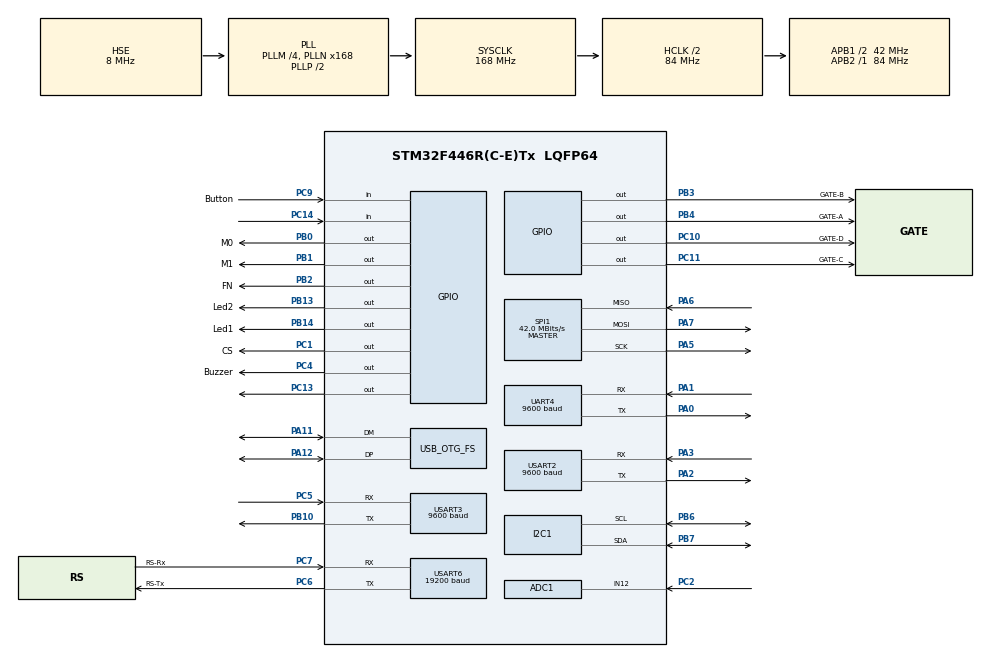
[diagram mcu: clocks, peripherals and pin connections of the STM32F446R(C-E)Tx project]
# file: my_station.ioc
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ADC1.Channel-0\#ChannelRegularConversion=ADC_CHANNEL_12
ADC1.ContinuousConvMode=ENABLE
ADC1.NbrOfConversionFlag=1
ADC1.Rank-0\#ChannelRegularConversion=1
ADC1.SamplingTime-0\#ChannelRegularConversion=ADC_SAMPLETIME_3CYCLES
ADC1.master=1
Dma.Request0=USART3_RX
Dma.USART3_RX.0.Direction=DMA_PERIPH_TO_MEMORY
Dma.USART3_RX.0.FIFOMode=DMA_FIFOMODE_DISABLE
Dma.USART3_RX.0.Instance=DMA1_Stream1
Dma.USART3_RX.0.MemDataAlignment=DMA_MDATAALIGN_BYTE
Dma.USART3_RX.0.MemInc=DMA_MINC_ENABLE
Dma.USART3_RX.0.Mode=DMA_NORMAL
Dma.USART3_RX.0.PeriphDataAlignment=DMA_PDATAALIGN_BYTE
Dma.USART3_RX.0.PeriphInc=DMA_PINC_DISABLE
Dma.USART3_RX.0.Priority=DMA_PRIORITY_LOW
I2C1.I2C_Mode=I2C_Fast
Mcu.Family=STM32F4
Mcu.Name=STM32F446R(C-E)Tx
Mcu.Package=LQFP64
NVIC.ADC_IRQn=true\:3\:0\:true\:false\:true\:true\:true\:true
NVIC.DMA1_Stream1_IRQn=true\:0\:0\:false\:false\:true\:false\:true\:true
NVIC.OTG_FS_IRQn=true\:0\:0\:false\:false\:true\:false\:true\:true
NVIC.PriorityGroup=NVIC_PRIORITYGROUP_4
NVIC.TIM2_IRQn=true\:0\:0\:false\:false\:true\:true\:true\:true
NVIC.TIM3_IRQn=true\:0\:0\:false\:false\:true\:true\:true\:true
NVIC.TIM4_IRQn=true\:0\:0\:false\:false\:true\:true\:true\:true
NVIC.UART4_IRQn=true\:2\:0\:true\:false\:true\:true\:true\:true
NVIC.USART2_IRQn=true\:2\:0\:true\:false\:true\:true\:true\:true
NVIC.USART3_IRQn=true\:0\:0\:false\:false\:true\:true\:true\:true
NVIC.USART6_IRQn=true\:0\:0\:false\:false\:true\:true\:true\:true
PA0-WKUP.Mode=Asynchronous
PA0-WKUP.Signal=UART4_TX
PA1.Mode=Asynchronous
PA1.Signal=UART4_RX
PA11.Mode=Device_Only
PA11.Signal=USB_OTG_FS_DM
PA12.Mode=Device_Only
PA12.Signal=USB_OTG_FS_DP
PA13.Mode=Serial_Wire
PA13.Signal=SYS_JTMS-SWDIO
PA14.Mode=Serial_Wire
PA14.Signal=SYS_JTCK-SWCLK
PA2.Mode=Asynchronous
PA2.Signal=USART2_TX
PA3.Mode=Asynchronous
PA3.Signal=USART2_RX
PA5.Mode=Full_Duplex_Master
PA5.Signal=SPI1_SCK
PA6.Mode=Full_Duplex_Master
PA6.Signal=SPI1_MISO
PA7.Mode=Full_Duplex_Master
PA7.Signal=SPI1_MOSI
PB0.GPIO_Label=M0
PB0.Signal=GPIO_Output
PB1.GPIO_Label=M1
PB1.Signal=GPIO_Output
PB10.Mode=Asynchronous
PB10.Signal=USART3_TX
PB13.GPIO_Label=Led2
PB13.Signal=GPIO_Output
PB14.GPIO_Label=Led1
PB14.Signal=GPIO_Output
PB2.GPIO_Label=FN
PB2.Signal=GPIO_Output
PB3.GPIO_Label=GATE-B
PB3.Signal=GPIO_Output
PB4.GPIO_Label=GATE-A
PB4.Signal=GPIO_Output
PB6.Mode=I2C
PB6.Signal=I2C1_SCL
PB7.Mode=I2C
PB7.Signal=I2C1_SDA
PC1.GPIO_Label=CS
PC1.Signal=GPIO_Output
PC10.GPIO_Label=GATE-D
PC10.Signal=GPIO_Output
PC11.GPIO_Label=GATE-C
PC11.Signal=GPIO_Output
PC13.Signal=GPIO_Output
PC14-OSC32_IN.Signal=GPIO_Input
PC2.Signal=ADCx_IN12
PC4.GPIO_Label=Buzzer
PC4.Signal=GPIO_Output
PC5.Mode=Asynchronous
PC5.Signal=USART3_RX
PC6.GPIO_Label=RS-Tx
PC6.Mode=Asynchronous
PC6.Signal=USART6_TX
PC7.GPIO_Label=RS-Rx
PC7.Mode=Asynchronous
PC7.Signal=USART6_RX
PC9.GPIO_Label=Button
PC9.Signal=GPIO_Input
PH0-OSC_IN.Mode=HSE-External-Oscillator
PH0-OSC_IN.Signal=RCC_OSC_IN
PH1-OSC_OUT.Mode=HSE-External-Oscillator
PH1-OSC_OUT.Signal=RCC_OSC_OUT
ProjectManager.HeapSize=0x200
ProjectManager.StackSize=0x400
ProjectManager.TargetToolchain=STM32CubeIDE
RCC.AHBCLKDivider=RCC_SYSCLK_DIV2
RCC.AHBFreq_Value=84000000
RCC.APB1CLKDivider=RCC_HCLK_DIV2
RCC.APB1Freq_Value=42000000
RCC.APB1TimFreq_Value=84000000
RCC.APB2Freq_Value=84000000
RCC.APB2TimFreq_Value=84000000
RCC.CortexFreq_Value=84000000
RCC.HCLKFreq_Value=84000000
RCC.HSE_VALUE=8000000
RCC.PLLM=4
RCC.PLLN=168
RCC.PLLQ=7
RCC.PLLSourceVirtual=RCC_PLLSOURCE_HSE
RCC.SYSCLKFreq_VALUE=168000000
RCC.SYSCLKSource=RCC_SYSCLKSOURCE_PLLCLK
RCC.USBFreq_Value=48000000
RCC.VCOOutputFreq_Value=336000000
SH.ADCx_IN12.0=ADC1_IN12,IN12
SPI1.CalculateBaudRate=42.0 MBits/s
SPI1.Direction=SPI_DIRECTION_2LINES
SPI1.Mode=SPI_MODE_MASTER
SPI1.VirtualType=VM_MASTER
TIM2.Period=16000-1
TIM2.Prescaler=8400
TIM3.Period=300-1
TIM3.Prescaler=8400
TIM4.Period=2000-1
TIM4.Prescaler=8400
UART4.BaudRate=9600
UART4.VirtualMode=Asynchronous
USART2.BaudRate=9600
USART2.VirtualMode=VM_ASYNC
USART3.BaudRate=9600
USART3.VirtualMode=VM_ASYNC
USART6.BaudRate=19200
USART6.VirtualMode=VM_ASYNC
USB_DEVICE.CLASS_NAME_FS=CDC
USB_DEVICE.VirtualMode-CDC_FS=Cdc
USB_DEVICE.VirtualModeFS=Cdc_FS
USB_OTG_FS.VirtualMode=Device_Only
VP_TIM2_VS_ClockSourceINT.Mode=Internal
VP_TIM3_VS_ClockSourceINT.Mode=Internal
VP_TIM4_VS_ClockSourceINT.Mode=Internal
VP_USB_DEVICE_VS_USB_DEVICE_CDC_FS.Mode=CDC_FS
board=custom

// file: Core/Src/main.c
/* USER CODE BEGIN Header */
/**
  ******************************************************************************
  * @file           : main.c
  * @brief          : Main program body
  ******************************************************************************
  * @attention
  *
  * Copyright (c) 2024 STMicroelectronics.
  * All rights reserved.
  *
  * This software is licensed under terms that can be found in the LICENSE file
  * in the root directory of this software component.
  * If no LICENSE file comes with this software, it is provided AS-IS.
  *
  ******************************************************************************
  */
/* USER CODE END Header */
#include "main.h"
#include "usb_device.h"

/* USER CODE BEGIN Includes */
#include "lwgps/lwgps.h"
#include <math.h>
#include "stdio.h"
#include "string.h"
/* USER CODE END Includes */

/* USER CODE BEGIN PTD */
#define Lora_Rx_Buffer_SIZE 72
#define RX_BUFFER_SIZE 128
#define HYI_BUFFER_SIZE 68

#define TAKIM_ID 31

#define PACKET_SIZE 72   // Toplam paket boyutu (47 data + 1 '\n')
#define PACKET1_ID 2     // 1. paketin 0. indeksindeki ID
#define PACKET2_ID 1     // 2. paketin 0. indeksindeki ID
#define PACKET1_MARKER 0x31 // 1. paketin 47. indeksindeki işaretleyici
#define PACKET2_MARKER 0x32 // 2. paketin 47. indeksindeki işaretleyici
#define PACKET_END '\n'   // Paketlerin sonundaki karakter

#define CMD_SET_REG 0xC0 // COMMAND FOR SETTING REGISTER
#define CMD_READ_REG 0xC1 // COMMAND FOR READING REGISTER
#define REG_ADD_H 0x0 // DEVICE ADDRESS HIGH BYTE
#define REG_ADD_L 0x1 // DEVICE ADDRESS LOW BYTE
#define REG0 0x2 // UART CONFIGURATION REGISTER
#define REG1 0x3 // RF CONFIGURATION REGISTER
#define REG2 0x4 // CHANNEL CONTROL
#define REG3 0x5 // TRANSMISSION PARAMETER CONTROL
/* USER CODE END PTD */

ADC_HandleTypeDef hadc1;

I2C_HandleTypeDef hi2c1;

SPI_HandleTypeDef hspi1;

TIM_HandleTypeDef htim2;
TIM_HandleTypeDef htim3;
TIM_HandleTypeDef htim4;

UART_HandleTypeDef huart4;
UART_HandleTypeDef huart2;
UART_HandleTypeDef huart3;
UART_HandleTypeDef huart6;
DMA_HandleTypeDef hdma_usart3_rx;

/* USER CODE BEGIN PV */
uint8_t Lora_Rx_Buffer[Lora_Rx_Buffer_SIZE],
		Lora_Control_Buffer[Lora_Rx_Buffer_SIZE],
		HYI_BUFFER[HYI_BUFFER_SIZE];

uint8_t rx_buffer_gps[RX_BUFFER_SIZE]	;

uint8_t rx_data_lora=0,
		rx_data_gps;

uint8_t rx_index_gps=0,
		rx_index_lora=0;

uint8_t flag_lora ,
		flag_megu ,
		flag_sensor_imu ,
		flag_sensor_barometre,
		flag_counter,
		flag_adc_cnt,
		flag_adc,
		flag_median,
		flag_hyi;

uint8_t Cmd_End[3] = {0xff,0xff,0xff};
uint8_t nextion_rx_data[5];

const uint8_t EGU_durum_sorgusu[5]={0x54,0x52,0x35,0x0D,0x0A};
const uint8_t EGU_motor_atesleme[5]={0x54,0x52,0x32,0x0D,0x0A};

int time;
float adc , adc_pil_val , s_distance, bs_distance;

const double PI = 4.0*atan(1.0);
const double radius_of_earth = 6378136.0474;
double _distance=0;
double _angle=0;

uint32_t crc;

//egu
uint8_t EGU_ARIZA=0;
uint8_t EGU_AYRILMA_TESPIT=0;
uint8_t EGU_MOTOR_ATESLEME_TALEP_IN=0;
uint8_t EGU_STAGE_DURUM=0;
uint8_t EGU_UCUS_BASLADIMI=0;
uint8_t EGU_FITIL =0;

float EGU_BATTERY=0;
float EGU_IRTIFA=0;
float EGU_ANGLE=0;

uint8_t b_altitude[8];
uint8_t b_temperature[5];
uint8_t b_speed[5];
uint8_t b_roll[5];
uint8_t b_pitch[5];
uint8_t b_latitude[9];
uint8_t b_longitude[9];
uint8_t b_bat[2];
uint8_t b_sats[2];
uint8_t b_comm[2];
uint8_t b_dist[6];

uint8_t enum_bs[9];
uint8_t enum_s[9];

char s_altitude[8];
uint8_t s_temperature[5];
uint8_t s_speed[5];
uint8_t s_roll[5];
uint8_t s_pitch[5];
uint8_t s_latitude[9];
uint8_t s_longitude[9];
uint8_t s_bat[2];
uint8_t s_sats[2];
uint8_t s_comm[2];
uint8_t s_dist[6];

///////////////////////////////////////////////////
uint8_t seconds[2];
uint8_t minutes[2];
uint8_t hours[2];
uint8_t st_bat[2];
/////////////////////////////////////////////////
uint8_t p_latitude[9];
uint8_t p_longitude[9];
uint8_t p_altitude[7];
uint8_t p_gpsaltitude[7];
uint8_t p_bat[2];
////////////////////////////////////////////////
uint8_t e_altitude[7];
uint8_t e_bat[2];
uint8_t e_angle[5];
uint8_t e_flight[2];
uint8_t e_stage[2];
uint8_t e_fitil[5];
uint8_t e_engine_request[3];

/* USER CODE END PV */

void SystemClock_Config(void);
static void MX_GPIO_Init(void);
static void MX_DMA_Init(void);
static void MX_ADC1_Init(void);
static void MX_I2C1_Init(void);
static void MX_SPI1_Init(void);
static void MX_USART2_UART_Init(void);
static void MX_USART3_UART_Init(void);
static void MX_USART6_UART_Init(void);
static void MX_UART4_Init(void);
static void MX_TIM2_Init(void);
static void MX_TIM3_Init(void);
static void MX_TIM4_Init(void);
/* USER CODE BEGIN PFP */

void union_converter();
void Booster_union_converter();
void Sustainer_union_converter();

void HAL_TIM_PeriodElapsedCallback(TIM_HandleTypeDef *htim);
void HAL_UART_RxCpltCallback(UART_HandleTypeDef *huart);
void HAL_ADC_ConvCpltCallback(ADC_HandleTypeDef* hadc);
void Nextion_SendCommand(char* command);
void Nextion_SendFloatToTextbox(char* textbox_id, float value);
void NEXTION_SendString (char *ID, char *string);
void NEXTION_SendNum (char *obj, int32_t num);
void NEXTION_SendFloat (char *obj, float num, int dp);
void Payload_union_converter(void);
void correct_packet(uint8_t *buffer, int buffer_size);
void HYI_BUFFER_Fill();

int8_t user_i2c_read(uint8_t id, uint8_t reg_addr, uint8_t *data, uint16_t len);
int8_t user_i2c_write(uint8_t id, uint8_t reg_addr, uint8_t *data, uint16_t len);
int8_t E220_read_register(uint8_t reg);
int8_t E220_write_register(uint8_t reg,uint8_t parameter);

float BME280_Get_Altitude(void);

double distance_in_m(double lat1, double long1, double lat2, double long2);
double toRadians(double degree);
double calculateAngle(double lat1, double lon1, double lat2, double lon2);

/* USER CODE END PFP */

/* USER CODE BEGIN 0 */

typedef union{
  float fVal;
  unsigned char array[4];
}float2unit8;
float2unit8 conv;

typedef struct
{	uint8_t satsinview;
	float gpsaltitude;
	float gpslatitude;
	float gpslongitude;
	float speed;
	float altitude;
	float temperature;
	float accx;
	float accy;
	float accz;
	float normal;
	float pitch;
	float maxAltitude;
	uint8_t battery;
	uint8_t mod;
	uint8_t communication;

}dataTypeDef;

dataTypeDef Payload, Booster , Sustainer;

lwgps_t gps;

int8_t rslt=0 , receive_data;

/* USER CODE END 0 */

int main(void)
{

  /* MCU Configuration--------------------------------------------------------*/

  /* Reset of all peripherals, Initializes the Flash interface and the Systick. */
  HAL_Init();

  /* Configure the system clock */
  SystemClock_Config();

  /* Initialize all configured peripherals */
  MX_GPIO_Init();
  MX_DMA_Init();
  MX_ADC1_Init();
  MX_I2C1_Init();
  MX_SPI1_Init();
  MX_USART2_UART_Init();
  MX_USART3_UART_Init();
  MX_USART6_UART_Init();
  MX_UART4_Init();
  MX_TIM2_Init();
  MX_TIM3_Init();
  MX_TIM4_Init();
  MX_USB_DEVICE_Init();
  /* USER CODE BEGIN 2 */

  HAL_Delay(100);
  receive_data =E220_write_register(0x2, 0x64);
  HAL_Delay(100);

  HAL_Delay(100);
  receive_data =E220_write_register(0x2, 0x64);
  HAL_Delay(100);

  receive_data =E220_write_register(0x3, 0x40);
  HAL_Delay(100);
  receive_data =E220_write_register(0x4, 0x10); // ch
  HAL_Delay(100);
  receive_data =E220_write_register(0x5, 0x40);//40
  HAL_Delay(100);
  receive_data =E220_write_register(0x6, 0x00);
  HAL_Delay(100);
  receive_data =E220_write_register(0x7, 0x00);
  HAL_Delay(100);
  receive_data =E220_write_register(0, 0x06); // h 0x06
  HAL_Delay(100);

  receive_data =E220_write_register(0x1, 0x03); // low 0x03
  HAL_Delay(200);

  receive_data = E220_read_register(0);
  HAL_Delay(100);
  receive_data = E220_read_register(1);
  HAL_Delay(100);
  HAL_GPIO_WritePin(GPIOB, GPIO_PIN_0, RESET);//m0
  HAL_Delay(100);
  HAL_GPIO_WritePin(GPIOB, GPIO_PIN_1, SET); //m1
  HAL_Delay(100);

  lwgps_init(&gps);

  HAL_TIM_Base_Start_IT(&htim2);
  HAL_TIM_Base_Start_IT(&htim3);
  HAL_TIM_Base_Start_IT(&htim4);

  HAL_ADC_Start_IT(&hadc1);

  //HAL_UART_Receive_IT(&huart3, &rx_data_lora, 1);
  HAL_UART_Receive_IT(&huart2, &rx_data_gps, 1);
  HAL_UART_Receive_DMA(&huart3, Lora_Control_Buffer, 72);

  HYI_BUFFER_Fill();
  /* USER CODE END 2 */

  /* Infinite loop */
  while (1)
  {

    /* USER CODE BEGIN 3 */

	  if(Lora_Rx_Buffer[0]==2 && Lora_Rx_Buffer[47] == 0x31){

	  		  Sustainer.satsinview=Lora_Rx_Buffer[1];

	  		  Sustainer_union_converter();
	  		  Sustainer.battery=Lora_Rx_Buffer[46];
	  		  Sustainer.mod=Lora_Rx_Buffer[70];
	  		  Sustainer.communication=Lora_Rx_Buffer[48];

	  			 //EGU PART
	  			 EGU_ARIZA=Lora_Rx_Buffer[49];
	  			 EGU_AYRILMA_TESPIT=Lora_Rx_Buffer[50];
	  			HYI_BUFFER[74]= EGU_AYRILMA_TESPIT;//EGU_AYRILMA_TESPIT;

	  			 float2unit8 f2u8_EGU_BATTERY;
	  			for(uint8_t i=0;i<4;i++)
	  			{
	  				f2u8_EGU_BATTERY.array[i]=Lora_Rx_Buffer[i+51];
	  			}
	  			 EGU_BATTERY=f2u8_EGU_BATTERY.fVal;

	  			 float2unit8 f2u8_EGU_ANGLE;
	  			for(uint8_t i=0;i<4;i++)
	  			{
	  				f2u8_EGU_ANGLE.array[i]=Lora_Rx_Buffer[i+55];
	  			}
	  			  EGU_ANGLE=f2u8_EGU_ANGLE.fVal;

	  			  float2unit8 f2u8_EGU_IRTIFA;
	  			for(uint8_t i=0;i<4;i++)
	  			{
	  				f2u8_EGU_IRTIFA.array[i]=Lora_Rx_Buffer[i+59];
	  			}
	  		  EGU_IRTIFA=f2u8_EGU_IRTIFA.fVal;

	  		  EGU_FITIL=Lora_Rx_Buffer[50];
	  //	/*  EGU_UCUS_BASLADIMI*/sustv4_mod=Lora_Rx_Buffer[63];
	  		  EGU_STAGE_DURUM=Lora_Rx_Buffer[64];
	  		  EGU_MOTOR_ATESLEME_TALEP_IN=Lora_Rx_Buffer[65];
	  		  float2unit8 f2u8_altitude;
	  		  f2u8_altitude.array[0] = Lora_Rx_Buffer[66];
	  		  f2u8_altitude.array[1] = Lora_Rx_Buffer[67];
	  		  f2u8_altitude.array[2] = Lora_Rx_Buffer[68];
	  		  f2u8_altitude.array[3] = Lora_Rx_Buffer[69];
	  		  Sustainer.maxAltitude=f2u8_altitude.fVal;

				sprintf(s_altitude,"%4.3f",Sustainer.altitude);
				sprintf(s_temperature,"%2.2f",Sustainer.temperature);
				sprintf(s_speed,"%2.2f",Sustainer.speed);
				sprintf(s_roll,"%2.2f",Sustainer.normal);
				sprintf(s_pitch,"%2.2f",Sustainer.pitch);
				sprintf(s_latitude,"%2.6f",Sustainer.gpslatitude);
				sprintf(s_longitude,"%2.6f",Sustainer.gpslongitude);
				sprintf(s_bat,"%2d",Sustainer.battery);
				sprintf(s_sats,"%2d",Sustainer.satsinview);
				sprintf(s_comm,"%2d",Sustainer.communication);
				sprintf(s_comm,"%2d",Sustainer.communication);
				//sprintf(s_dist,"%4.2f",s_distance);

				sprintf(e_altitude,"%4.2f",EGU_IRTIFA);
				sprintf(e_angle,"%2.2f",EGU_ANGLE);
				sprintf(e_bat,"%2d",EGU_BATTERY);
				sprintf(e_flight,"%d",EGU_UCUS_BASLADIMI);
				sprintf(e_stage,"%d",EGU_AYRILMA_TESPIT);
				sprintf(e_fitil,"%d",EGU_FITIL);
				// Nextion_SendFloatToTextbox("s1", Sustainer.altitude);
				 NEXTION_SendString("s1", s_altitude);
				 NEXTION_SendString("s2", s_temperature);
				 NEXTION_SendString("s3", s_speed);
				 NEXTION_SendString("s4", s_roll);
				 NEXTION_SendString("s5", s_pitch);
				 NEXTION_SendString("s6", s_sats);
				 NEXTION_SendString("s7", s_latitude);
				 NEXTION_SendString("s8", s_longitude);
				 NEXTION_SendString("s9", s_bat);
				 NEXTION_SendString("t57", s_comm);
				 NEXTION_SendString("t", s_dist);

				 NEXTION_SendString("m1", e_altitude);
				 NEXTION_SendString("m3", e_angle);
				 NEXTION_SendString("m2", e_bat);
				 NEXTION_SendString("m4", e_flight);
				 NEXTION_SendString("m5", e_stage);

	  }

	  if(Lora_Rx_Buffer[0]==1 && Lora_Rx_Buffer[47]==0x32){

	  		  Booster.satsinview=Lora_Rx_Buffer[1];

	      	  Booster_union_converter();
	  		  Booster.battery=Lora_Rx_Buffer[46];
	  		  Booster.mod=Lora_Rx_Buffer[70];
	  		  Booster.communication=Lora_Rx_Buffer[48];
	  		  float2unit8 f2u8_booster;
	  		  f2u8_booster.array[0] = Lora_Rx_Buffer[66];
	  		  f2u8_booster.array[1] = Lora_Rx_Buffer[67];
	  		  f2u8_booster.array[2] = Lora_Rx_Buffer[68];
	  		  f2u8_booster.array[3] = Lora_Rx_Buffer[69];
	  		  Booster.maxAltitude = f2u8_booster.fVal;

	  		sprintf(b_altitude,"%4.3f",Booster.altitude);
			sprintf(b_temperature,"%2.2f",Booster.temperature);
			sprintf(b_speed,"%2.2f",Booster.speed);
			sprintf(b_roll,"%2.2f",Booster.normal);
			sprintf(b_pitch,"%2.2f",Booster.pitch);
			sprintf(b_latitude,"%2.6f",Booster.gpslatitude);
			sprintf(b_longitude,"%2.6f",Booster.gpslongitude);
			sprintf(b_bat,"%2d",Booster.battery);
			sprintf(b_sats,"%2d",Booster.satsinview);
			sprintf(b_comm,"%2d",Booster.communication);
		//	sprintf(b_dist,"%4.2f",bs_distance);

			NEXTION_SendString("bs1", b_altitude);
			NEXTION_SendString("bs2", b_temperature);
			NEXTION_SendString("bs3", b_speed);
			NEXTION_SendString("bs4", b_roll);
			NEXTION_SendString("bs5", b_pitch);
			NEXTION_SendString("bs6", b_sats);
			NEXTION_SendString("bs7", b_latitude);
			NEXTION_SendString("bs8", b_longitude);
			NEXTION_SendString("bs9", b_bat);
			NEXTION_SendString("t56", b_comm);
			NEXTION_SendString("t17", b_dist);

			NEXTION_SendString("m7", e_engine_request);
			NEXTION_SendString("t59", e_fitil);

//		 	HAL_GPIO_WritePin(GPIOB, GPIO_PIN_0, SET);
//			HAL_GPIO_WritePin(GPIOB, GPIO_PIN_1, SET);
//
//			HAL_Delay(3);
//
//			uint8_t send_data[4]={0xC2,0x0,1,0x06};
//			uint8_t receive_data[4]={0};
//
//			HAL_UART_Transmit(&huart3,send_data ,4, 100);
//			HAL_UART_Receive(&huart3, receive_data, 4, 100);
//			HAL_GPIO_WritePin(GPIOB, GPIO_PIN_1, RESET);

	  }
	  if(Lora_Rx_Buffer[0]==3 && Lora_Rx_Buffer[47]==0x33)
		  {

		  Payload.satsinview=Lora_Rx_Buffer[1];

		  Payload_union_converter();

		  Payload.battery=Lora_Rx_Buffer[46];
		  Payload.mod=Lora_Rx_Buffer[70];
		  Payload.communication=Lora_Rx_Buffer[48];
	        // payload ekran

			sprintf(p_altitude,"%4.2f",Payload.altitude);
			sprintf(p_latitude,"%2.6f",Payload.gpslatitude);
			sprintf(p_gpsaltitude,"%4.2f",Payload.gpsaltitude);
			sprintf(p_longitude,"%2.6f",Payload.gpslongitude);
			sprintf(p_bat,"%2d",Payload.battery);

			NEXTION_SendString("vp1", p_latitude);
			NEXTION_SendString("vp2", p_longitude);
			NEXTION_SendString("vp3", p_gpsaltitude);
			NEXTION_SendString("vp4", p_altitude);
			NEXTION_SendString("vp5", p_bat);

		  }

/*************************************************************************************************/

	  if(flag_hyi ==2)
	  {
		  HYI_BUFFER_Fill();
	      flag_hyi=0;
	  }

	  if(flag_adc_cnt >=10 && flag_adc ==1)
	  	  {
	  		  if(adc > 2476) adc = 2234;
	  		  if(adc < 1755) adc = 1755;
	  		  // 6V = 1755 adc val 1,41V
	  		  // 8.4V = 2476 adc val 1,99V 0,58V
	  		  adc_pil_val=(float)( ( ( (adc/4095)*3.3)-1.41) / (1.99-1.41) ) *100 ;
	  		 // adc_pil_val = (adc-1755)/(2746-1755)*100;

	  		  s_distance=distance_in_m(gps.latitude,gps.longitude,Sustainer.gpslatitude,Sustainer.gpslongitude);
	  		  bs_distance=distance_in_m(gps.latitude,gps.longitude,Booster.gpslatitude,Booster.gpslongitude);

			  sprintf(s_dist,"%4.2f",s_distance);
			  NEXTION_SendString("t", s_dist);

			  sprintf(b_dist,"%4.2f",bs_distance);
			  NEXTION_SendString("t17", b_dist);

	  		  sprintf(st_bat,"%2d",(uint8_t)adc_pil_val);
	  		  NEXTION_SendString("t54", st_bat);

	  		  flag_adc=0;
	  		  flag_adc_cnt=0;
	  		  HAL_ADC_Start_IT(&hadc1);
	  	  }

  }
  /* USER CODE END 3 */
}

void SystemClock_Config(void)
{
  RCC_OscInitTypeDef RCC_OscInitStruct = {0};
  RCC_ClkInitTypeDef RCC_ClkInitStruct = {0};

  /** Configure the main internal regulator output voltage
  */
  __HAL_RCC_PWR_CLK_ENABLE();
  __HAL_PWR_VOLTAGESCALING_CONFIG(PWR_REGULATOR_VOLTAGE_SCALE3);

  /** Initializes the RCC Oscillators according to the specified parameters
  * in the RCC_OscInitTypeDef structure.
  */
  RCC_OscInitStruct.OscillatorType = RCC_OSCILLATORTYPE_HSE;
  RCC_OscInitStruct.HSEState = RCC_HSE_ON;
  RCC_OscInitStruct.PLL.PLLState = RCC_PLL_ON;
  RCC_OscInitStruct.PLL.PLLSource = RCC_PLLSOURCE_HSE;
  RCC_OscInitStruct.PLL.PLLM = 4;
  RCC_OscInitStruct.PLL.PLLN = 168;
  RCC_OscInitStruct.PLL.PLLP = RCC_PLLP_DIV2;
  RCC_OscInitStruct.PLL.PLLQ = 7;
  RCC_OscInitStruct.PLL.PLLR = 2;
  if (HAL_RCC_OscConfig(&RCC_OscInitStruct) != HAL_OK)
  {
    Error_Handler();
  }

  /** Initializes the CPU, AHB and APB buses clocks
  */
  RCC_ClkInitStruct.ClockType = RCC_CLOCKTYPE_HCLK|RCC_CLOCKTYPE_SYSCLK
                              |RCC_CLOCKTYPE_PCLK1|RCC_CLOCKTYPE_PCLK2;
  RCC_ClkInitStruct.SYSCLKSource = RCC_SYSCLKSOURCE_PLLCLK;
  RCC_ClkInitStruct.AHBCLKDivider = RCC_SYSCLK_DIV2;
  RCC_ClkInitStruct.APB1CLKDivider = RCC_HCLK_DIV2;
  RCC_ClkInitStruct.APB2CLKDivider = RCC_HCLK_DIV1;

  if (HAL_RCC_ClockConfig(&RCC_ClkInitStruct, FLASH_LATENCY_2) != HAL_OK)
  {
    Error_Handler();
  }
}

static void MX_ADC1_Init(void)
{

  ADC_ChannelConfTypeDef sConfig = {0};

  /** Configure the global features of the ADC (Clock, Resolution, Data Alignment and number of conversion)
  */
  hadc1.Instance = ADC1;
  hadc1.Init.ClockPrescaler = ADC_CLOCK_SYNC_PCLK_DIV4;
  hadc1.Init.Resolution = ADC_RESOLUTION_12B;
  hadc1.Init.ScanConvMode = DISABLE;
  hadc1.Init.ContinuousConvMode = ENABLE;
  hadc1.Init.DiscontinuousConvMode = DISABLE;
  hadc1.Init.ExternalTrigConvEdge = ADC_EXTERNALTRIGCONVEDGE_NONE;
  hadc1.Init.ExternalTrigConv = ADC_SOFTWARE_START;
  hadc1.Init.DataAlign = ADC_DATAALIGN_RIGHT;
  hadc1.Init.NbrOfConversion = 1;
  hadc1.Init.DMAContinuousRequests = DISABLE;
  hadc1.Init.EOCSelection = ADC_EOC_SINGLE_CONV;
  if (HAL_ADC_Init(&hadc1) != HAL_OK)
  {
    Error_Handler();
  }

  /** Configure for the selected ADC regular channel its corresponding rank in the sequencer and its sample time.
  */
  sConfig.Channel = ADC_CHANNEL_12;
  sConfig.Rank = 1;
  sConfig.SamplingTime = ADC_SAMPLETIME_3CYCLES;
  if (HAL_ADC_ConfigChannel(&hadc1, &sConfig) != HAL_OK)
  {
    Error_Handler();
  }

}

static void MX_I2C1_Init(void)
{

  hi2c1.Instance = I2C1;
  hi2c1.Init.ClockSpeed = 400000;
  hi2c1.Init.DutyCycle = I2C_DUTYCYCLE_2;
  hi2c1.Init.OwnAddress1 = 0;
  hi2c1.Init.AddressingMode = I2C_ADDRESSINGMODE_7BIT;
  hi2c1.Init.DualAddressMode = I2C_DUALADDRESS_DISABLE;
  hi2c1.Init.OwnAddress2 = 0;
  hi2c1.Init.GeneralCallMode = I2C_GENERALCALL_DISABLE;
  hi2c1.Init.NoStretchMode = I2C_NOSTRETCH_DISABLE;
  if (HAL_I2C_Init(&hi2c1) != HAL_OK)
  {
    Error_Handler();
  }

}

static void MX_SPI1_Init(void)
{

  /* SPI1 parameter configuration*/
  hspi1.Instance = SPI1;
  hspi1.Init.Mode = SPI_MODE_MASTER;
  hspi1.Init.Direction = SPI_DIRECTION_2LINES;
  hspi1.Init.DataSize = SPI_DATASIZE_8BIT;
  hspi1.Init.CLKPolarity = SPI_POLARITY_LOW;
  hspi1.Init.CLKPhase = SPI_PHASE_1EDGE;
  hspi1.Init.NSS = SPI_NSS_SOFT;
  hspi1.Init.BaudRatePrescaler = SPI_BAUDRATEPRESCALER_2;
  hspi1.Init.FirstBit = SPI_FIRSTBIT_MSB;
  hspi1.Init.TIMode = SPI_TIMODE_DISABLE;
  hspi1.Init.CRCCalculation = SPI_CRCCALCULATION_DISABLE;
  hspi1.Init.CRCPolynomial = 10;
  if (HAL_SPI_Init(&hspi1) != HAL_OK)
  {
    Error_Handler();
  }

}

static void MX_TIM2_Init(void)
{

  TIM_ClockConfigTypeDef sClockSourceConfig = {0};
  TIM_MasterConfigTypeDef sMasterConfig = {0};

  htim2.Instance = TIM2;
  htim2.Init.Prescaler = 8400;
  htim2.Init.CounterMode = TIM_COUNTERMODE_UP;
  htim2.Init.Period = 16000-1;
  htim2.Init.ClockDivision = TIM_CLOCKDIVISION_DIV1;
  htim2.Init.AutoReloadPreload = TIM_AUTORELOAD_PRELOAD_DISABLE;
  if (HAL_TIM_Base_Init(&htim2) != HAL_OK)
  {
    Error_Handler();
  }
  sClockSourceConfig.ClockSource = TIM_CLOCKSOURCE_INTERNAL;
  if (HAL_TIM_ConfigClockSource(&htim2, &sClockSourceConfig) != HAL_OK)
  {
    Error_Handler();
  }
  sMasterConfig.MasterOutputTrigger = TIM_TRGO_RESET;
  sMasterConfig.MasterSlaveMode = TIM_MASTERSLAVEMODE_DISABLE;
  if (HAL_TIMEx_MasterConfigSynchronization(&htim2, &sMasterConfig) != HAL_OK)
  {
    Error_Handler();
  }

}

static void MX_TIM3_Init(void)
{

  TIM_ClockConfigTypeDef sClockSourceConfig = {0};
  TIM_MasterConfigTypeDef sMasterConfig = {0};

  htim3.Instance = TIM3;
  htim3.Init.Prescaler = 8400;
  htim3.Init.CounterMode = TIM_COUNTERMODE_UP;
  htim3.Init.Period = 300-1;
  htim3.Init.ClockDivision = TIM_CLOCKDIVISION_DIV1;
  htim3.Init.AutoReloadPreload = TIM_AUTORELOAD_PRELOAD_DISABLE;
  if (HAL_TIM_Base_Init(&htim3) != HAL_OK)
  {
    Error_Handler();
  }
  sClockSourceConfig.ClockSource = TIM_CLOCKSOURCE_INTERNAL;
  if (HAL_TIM_ConfigClockSource(&htim3, &sClockSourceConfig) != HAL_OK)
  {
    Error_Handler();
  }
  sMasterConfig.MasterOutputTrigger = TIM_TRGO_RESET;
  sMasterConfig.MasterSlaveMode = TIM_MASTERSLAVEMODE_DISABLE;
  if (HAL_TIMEx_MasterConfigSynchronization(&htim3, &sMasterConfig) != HAL_OK)
  {
    Error_Handler();
  }

}

static void MX_TIM4_Init(void)
{

  TIM_ClockConfigTypeDef sClockSourceConfig = {0};
  TIM_MasterConfigTypeDef sMasterConfig = {0};

  htim4.Instance = TIM4;
  htim4.Init.Prescaler = 8400;
  htim4.Init.CounterMode = TIM_COUNTERMODE_UP;
  htim4.Init.Period = 2000-1;
  htim4.Init.ClockDivision = TIM_CLOCKDIVISION_DIV1;
  htim4.Init.AutoReloadPreload = TIM_AUTORELOAD_PRELOAD_DISABLE;
  if (HAL_TIM_Base_Init(&htim4) != HAL_OK)
  {
    Error_Handler();
  }
  sClockSourceConfig.ClockSource = TIM_CLOCKSOURCE_INTERNAL;
  if (HAL_TIM_ConfigClockSource(&htim4, &sClockSourceConfig) != HAL_OK)
  {
    Error_Handler();
  }
  sMasterConfig.MasterOutputTrigger = TIM_TRGO_RESET;
  sMasterConfig.MasterSlaveMode = TIM_MASTERSLAVEMODE_DISABLE;
  if (HAL_TIMEx_MasterConfigSynchronization(&htim4, &sMasterConfig) != HAL_OK)
  {
    Error_Handler();
  }

}

static void MX_UART4_Init(void)
{

  huart4.Instance = UART4;
  huart4.Init.BaudRate = 9600;
  huart4.Init.WordLength = UART_WORDLENGTH_8B;
  huart4.Init.StopBits = UART_STOPBITS_1;
  huart4.Init.Parity = UART_PARITY_NONE;
  huart4.Init.Mode = UART_MODE_TX_RX;
  huart4.Init.HwFlowCtl = UART_HWCONTROL_NONE;
  huart4.Init.OverSampling = UART_OVERSAMPLING_16;
  if (HAL_UART_Init(&huart4) != HAL_OK)
  {
    Error_Handler();
  }

}

static void MX_USART2_UART_Init(void)
{

  huart2.Instance = USART2;
  huart2.Init.BaudRate = 9600;
  huart2.Init.WordLength = UART_WORDLENGTH_8B;
  huart2.Init.StopBits = UART_STOPBITS_1;
  huart2.Init.Parity = UART_PARITY_NONE;
  huart2.Init.Mode = UART_MODE_TX_RX;
  huart2.Init.HwFlowCtl = UART_HWCONTROL_NONE;
  huart2.Init.OverSampling = UART_OVERSAMPLING_16;
  if (HAL_UART_Init(&huart2) != HAL_OK)
  {
    Error_Handler();
  }

}

static void MX_USART3_UART_Init(void)
{

  huart3.Instance = USART3;
  huart3.Init.BaudRate = 9600;
  huart3.Init.WordLength = UART_WORDLENGTH_8B;
  huart3.Init.StopBits = UART_STOPBITS_1;
  huart3.Init.Parity = UART_PARITY_NONE;
  huart3.Init.Mode = UART_MODE_TX_RX;
  huart3.Init.HwFlowCtl = UART_HWCONTROL_NONE;
  huart3.Init.OverSampling = UART_OVERSAMPLING_16;
  if (HAL_UART_Init(&huart3) != HAL_OK)
  {
    Error_Handler();
  }

}

static void MX_USART6_UART_Init(void)
{

  huart6.Instance = USART6;
  huart6.Init.BaudRate = 19200;
  huart6.Init.WordLength = UART_WORDLENGTH_8B;
  huart6.Init.StopBits = UART_STOPBITS_1;
  huart6.Init.Parity = UART_PARITY_NONE;
  huart6.Init.Mode = UART_MODE_TX_RX;
  huart6.Init.HwFlowCtl = UART_HWCONTROL_NONE;
  huart6.Init.OverSampling = UART_OVERSAMPLING_16;
  if (HAL_UART_Init(&huart6) != HAL_OK)
  {
    Error_Handler();
  }

}

static void MX_DMA_Init(void)
{

  /* DMA controller clock enable */
  __HAL_RCC_DMA1_CLK_ENABLE();

  /* DMA interrupt init */
  /* DMA1_Stream1_IRQn interrupt configuration */
  HAL_NVIC_SetPriority(DMA1_Stream1_IRQn, 0, 0);
  HAL_NVIC_EnableIRQ(DMA1_Stream1_IRQn);

}

static void MX_GPIO_Init(void)
{
  GPIO_InitTypeDef GPIO_InitStruct = {0};

  /* GPIO Ports Clock Enable */
  __HAL_RCC_GPIOC_CLK_ENABLE();
  __HAL_RCC_GPIOH_CLK_ENABLE();
  __HAL_RCC_GPIOA_CLK_ENABLE();
  __HAL_RCC_GPIOB_CLK_ENABLE();

  /*Configure GPIO pin Output Level */
  HAL_GPIO_WritePin(GPIOC, GPIO_PIN_13|CS_Pin|Buzzer_Pin|GATE_D_Pin
                          |GATE_C_Pin, GPIO_PIN_RESET);

  /*Configure GPIO pin Output Level */
  HAL_GPIO_WritePin(GPIOB, M0_Pin|M1_Pin|FN_Pin|Led2_Pin
                          |Led1_Pin|GATE_B_Pin|GATE_A_Pin, GPIO_PIN_RESET);

  /*Configure GPIO pins : PC13 CS_Pin Buzzer_Pin GATE_D_Pin
                           GATE_C_Pin */
  GPIO_InitStruct.Pin = GPIO_PIN_13|CS_Pin|Buzzer_Pin|GATE_D_Pin
                          |GATE_C_Pin;
  GPIO_InitStruct.Mode = GPIO_MODE_OUTPUT_PP;
  GPIO_InitStruct.Pull = GPIO_NOPULL;
  GPIO_InitStruct.Speed = GPIO_SPEED_FREQ_LOW;
  HAL_GPIO_Init(GPIOC, &GPIO_InitStruct);

  /*Configure GPIO pins : PC14 Button_Pin */
  GPIO_InitStruct.Pin = GPIO_PIN_14|Button_Pin;
  GPIO_InitStruct.Mode = GPIO_MODE_INPUT;
  GPIO_InitStruct.Pull = GPIO_NOPULL;
  HAL_GPIO_Init(GPIOC, &GPIO_InitStruct);

  /*Configure GPIO pins : M0_Pin M1_Pin FN_Pin Led2_Pin
                           Led1_Pin GATE_B_Pin GATE_A_Pin */
  GPIO_InitStruct.Pin = M0_Pin|M1_Pin|FN_Pin|Led2_Pin
                          |Led1_Pin|GATE_B_Pin|GATE_A_Pin;
  GPIO_InitStruct.Mode = GPIO_MODE_OUTPUT_PP;
  GPIO_InitStruct.Pull = GPIO_NOPULL;
  GPIO_InitStruct.Speed = GPIO_SPEED_FREQ_LOW;
  HAL_GPIO_Init(GPIOB, &GPIO_InitStruct);

}

/* USER CODE BEGIN 4 */
void HAL_TIM_PeriodElapsedCallback(TIM_HandleTypeDef *htim)
{

	if(htim==&htim2)// Lora timer
	{
		flag_lora=1;

		flag_hyi++;
		if(flag_hyi >=3)flag_hyi=0;

		flag_adc_cnt++;
		if(flag_adc_cnt >=12) flag_adc_cnt=0;
	}

	if(htim==&htim3)// sensor timer 30ms
	{
		flag_sensor_imu=1;

		flag_counter++;
		if(flag_counter == 10)
		{
			flag_sensor_barometre =1;
			flag_counter=0;
		}
	}

	if(htim==&htim4)// megü timer
	{
		flag_megu=1;

	}

}

void HAL_UART_RxCpltCallback(UART_HandleTypeDef *huart)
{
	if(huart==&huart2){
	if(rx_data_gps != '\n' && rx_index_gps < RX_BUFFER_SIZE) {
		rx_buffer_gps[rx_index_gps++] = rx_data_gps;
	} else {
		lwgps_process(&gps, rx_buffer_gps, rx_index_gps+1);
		rx_index_gps = 0;
		rx_data_gps = 0;
	}
	HAL_UART_Receive_IT(&huart2, &rx_data_gps, 1);
	}

	if(huart == &huart3){
//		if(rx_data_lora != '\n'&& rx_index_lora < Lora_Rx_Buffer_SIZE){
//			Lora_Rx_Buffer[rx_index_lora++]=rx_data_lora;
//
//		}
//		else{
//			rx_data_lora=0;
//			rx_index_lora=0;
//
//			}
		//HAL_UART_Receive_IT(&huart3, &rx_data_lora, 1);

				if((Lora_Control_Buffer[0] != 1 &&Lora_Control_Buffer[47] != 50) && (Lora_Control_Buffer[0] != 2 &&Lora_Control_Buffer[47] != 49)&& (Lora_Control_Buffer[0] != 3 &&Lora_Control_Buffer[47] != 0x33))
				{
					//memcpy(Lora_Rx_Buffer,Lora_Control_Buffer, Lora_Rx_Buffer_SIZE);
					correct_packet(Lora_Control_Buffer,Lora_Rx_Buffer_SIZE);
		//			HAL_UART_DMAStop(&huart3);
				//	HAL_Delay(1000);
				//	HAL_UART_Receive_DMA(&huart3, Lora_Control_Buffer, 72);
				}
//				else
//				{
//					for(int i =0; i<20;i++)
//					{
//						Lora_Rx_Buffer[i+53] =Lora_Control_Buffer[i+53];
//					}
//					for(int i =0; i<52;i++)
//					{
//						Lora_Rx_Buffer[i+20] =Lora_Control_Buffer[i+20];
//					}
					memcpy(Lora_Rx_Buffer , Lora_Control_Buffer , Lora_Rx_Buffer_SIZE);
					HAL_UART_Receive_DMA(&huart3, Lora_Control_Buffer, 72);

//				}

			//}

		}

}

void HAL_ADC_ConvCpltCallback(ADC_HandleTypeDef* hadc)
{
	if(hadc->Instance == ADC1 )
	{
		adc= HAL_ADC_GetValue(&hadc1);
		flag_adc=1;
	}
}

void correct_packet(uint8_t *buffer, int buffer_size) {
	  int start_index = -1;

	// Paketlerin başlangıcını tespit et
	for (int i = 0; i < buffer_size; i++) {
		if ((buffer[i] == PACKET1_ID && buffer[(i + 47) % buffer_size] == PACKET1_MARKER && buffer[(i + 71) % buffer_size] == PACKET_END) ||
			(buffer[i] == PACKET2_ID && buffer[(i + 47) % buffer_size] == PACKET2_MARKER && buffer[(i + 71) % buffer_size] == PACKET_END)) {
			start_index = i;
			break;
		}
	}

	// Eğer başlangıç bulunduysa ve başta değilse buffer'ı düzelt
	if (start_index > 0) {
		uint8_t temp_buffer[buffer_size];

		// Buffer'daki doğru veriyi temp_buffer'a kopyala
		memcpy(temp_buffer, &buffer[start_index], buffer_size - start_index);
		memcpy(&temp_buffer[buffer_size - start_index], buffer, start_index);

		// Düzeltilmiş veriyi orijinal buffer'a kopyala
		memcpy(buffer, temp_buffer, buffer_size);
	}

}

int8_t E220_write_register(uint8_t reg,uint8_t parameter)
{

	HAL_GPIO_WritePin(GPIOB, GPIO_PIN_0, SET);
	HAL_GPIO_WritePin(GPIOB, GPIO_PIN_1, SET);

	HAL_Delay(3);

	uint8_t send_data[4]={CMD_SET_REG,reg,1,parameter};
	uint8_t receive_data[4]={0};

	HAL_UART_Transmit(&huart3,send_data ,4, 100);
	HAL_UART_Receive(&huart3, receive_data, 4, 100);

	if(receive_data[0]==CMD_READ_REG && receive_data[1]==reg && receive_data[2]==1 && receive_data[3] == parameter)
		return receive_data[3];
	else
		return -1;

}
int8_t E220_read_register(uint8_t reg)
{

	uint8_t send_data[3]={CMD_READ_REG,reg,1};
	uint8_t receive_data[4]={0};
	HAL_UART_Transmit(&huart3,send_data ,3, 100);

	HAL_UART_Receive(&huart3, receive_data, 4, 100);

	if(receive_data[0]==CMD_READ_REG && receive_data[1]==reg && receive_data[2]==1)
		return receive_data[3];
	else
		return -1;
}

void NEXTION_SendString (char *ID, char *string)
{
	char buf[50];
	int len = sprintf (buf, "%s.txt=\"%s\"", ID, string);
	HAL_UART_Transmit(&huart4, (uint8_t *)buf, len, 1000);
	HAL_UART_Transmit(&huart4, Cmd_End, 3, 100);
}

void NEXTION_SendNum (char *obj, int32_t num)
{
	uint8_t *buffer = malloc(30*sizeof (char));
	int len = sprintf ((char *)buffer, "%s.val=%ld", obj, num);
	HAL_UART_Transmit(&huart4, buffer, len, 1000);
	HAL_UART_Transmit(&huart4, Cmd_End, 3, 100);
	free(buffer);
}

void NEXTION_SendFloat (char *obj, float num, int dp)
{
	// convert to the integer
	int32_t number = num*(pow(10,dp));

	uint8_t *buffer = malloc(30*sizeof (char));
	int len = sprintf ((char *)buffer, "%s.vvs1=%d", obj, dp);
	HAL_UART_Transmit(&huart4, buffer, len, 1000);
	HAL_UART_Transmit(&huart4, Cmd_End, 3, 100);

	len = sprintf ((char *)buffer, "%s.val=%ld", obj, number);
	HAL_UART_Transmit(&huart4, buffer, len, 1000);
	HAL_UART_Transmit(&huart4, Cmd_End, 3, 100);
	free(buffer);
}

void Nextion_SendCommand(char* command) {
    HAL_UART_Transmit(&huart4, (uint8_t*)command, strlen(command), 100);
    uint8_t end_cmd[] = {0xFF, 0xFF, 0xFF}; // Nextion end of command
    HAL_UART_Transmit(&huart4, end_cmd, 3, 100);
}

// Function to send a float value to a Nextion text box
void Nextion_SendFloatToTextbox(char* textbox_id, float value) {
    char command[50];
    char value_str[20];

    // Convert the float to a string
    snprintf(value_str, sizeof(value_str), "%.2f", value); // Adjust the format as needed

    // Format the command
    snprintf(command, sizeof(command), "%s.txt=\"%s\"", textbox_id, value_str);

    // Send the command to the Nextion display
    Nextion_SendCommand(command);
}

void HYI_BUFFER_Fill()
{
//	HYI_BUFFER[0] =0xFF;
//	HYI_BUFFER[1] =0xFF;
//	HYI_BUFFER[2] =0x54;
//	HYI_BUFFER[3] =0X52;
//	HYI_BUFFER[4] =TAKIM_ID;
//
//
//	//HYI_BUFFER[75]= crc; // CRC
//	HYI_BUFFER[76]= 0x0D;
//	HYI_BUFFER[77]= 0x0A;

	float2unit8 f2u8_hAltitude;
		 f2u8_hAltitude.fVal=Sustainer.altitude;
		 for(uint8_t i=0;i<4;i++)
		 {
			 HYI_BUFFER[i]=f2u8_hAltitude.array[i];
		 }

		  float2unit8 f2u8_hGpsalt;
		  f2u8_hGpsalt.fVal=Sustainer.gpsaltitude;
		  for(uint8_t i=0;i<4;i++)
		  {
			 HYI_BUFFER[4+i]=f2u8_hGpsalt.array[i];
		  }

		  float2unit8 f2u8_hGpslat;
		  f2u8_hGpslat.fVal=Sustainer.gpslatitude;
		  for(uint8_t i=0;i<4;i++)
	     {
	   	  HYI_BUFFER[8+i]=f2u8_hGpslat.array[i];
	     }

		  float2unit8 f2u8_hGpslong;
		  f2u8_hGpslong.fVal=Sustainer.gpslongitude;
		  for(uint8_t i=0;i<4;i++)
		  {
		  	HYI_BUFFER[12+i]=f2u8_hGpslong.array[i];
		  }

		  for(uint8_t i=0;i<40;i++)
		  {
		   HYI_BUFFER[16+i]=0;
		  }

		  float2unit8 f2u8_h_k_Gpsalt;
		  f2u8_h_k_Gpsalt.fVal=Booster.gpsaltitude;
		  for(uint8_t i=0;i<4;i++)
		  {
			 HYI_BUFFER[56+i]= f2u8_h_k_Gpsalt.array[i];
		  }

		  float2unit8 f2u8_h_k_Gpslat;
		  f2u8_h_k_Gpslat.fVal=Booster.gpslatitude;
		  for(uint8_t i=0;i<4;i++)
	     {
	   	  HYI_BUFFER[60+i]= f2u8_h_k_Gpslat.array[i];
	     }

		  float2unit8 f2u8_h_k_Gpslong;
		  f2u8_h_k_Gpslong.fVal=Booster.gpslongitude;
		  for(uint8_t i=0;i<4;i++)
		  {
		  	HYI_BUFFER[64+i]=f2u8_h_k_Gpslong.array[i];
		  }

		 CDC_Transmit_FS((uint8_t*)HYI_BUFFER,HYI_BUFFER_SIZE);

}

void Booster_union_converter(void)
{
			float2unit8 f2u8_booster;
					 for(uint8_t i=0;i<4;i++)
					 {
						 f2u8_booster.array[i]=Lora_Rx_Buffer[i+2];
						// HYI_BUFFER[34+i]=Lora_Rx_Buffer[i+5]; // 34 35 36 37
					 }
					 Booster.gpsaltitude=f2u8_booster.fVal;

					 for(uint8_t i=0;i<4;i++)
					 {
						 f2u8_booster.array[i]=Lora_Rx_Buffer[i+6];
						 //HYI_BUFFER[38+i]=Lora_Rx_Buffer[i+9]; // 38 39 40 41
					 }
					 Booster.gpslatitude=f2u8_booster.fVal;

					 for(uint8_t i=0;i<4;i++)
					 {
						 f2u8_booster.array[i]=Lora_Rx_Buffer[i+10];
						// HYI_BUFFER[42+i]=Lora_Rx_Buffer[i+13]; // 42 43 44 45
					 }
					 Booster.gpslongitude=f2u8_booster.fVal;

					 for(uint8_t i=0;i<4;i++)
					 {
						 f2u8_booster.array[i]=Lora_Rx_Buffer[i+14];
					 }
					 Booster.altitude=f2u8_booster.fVal;

					 for(uint8_t i=0;i<4;i++)
					 {
						 f2u8_booster.array[i]=Lora_Rx_Buffer[i+18];
					 }
					 Booster.speed=f2u8_booster.fVal;

					 for(uint8_t i=0;i<4;i++)
					 {
						 f2u8_booster.array[i]=Lora_Rx_Buffer[i+22];
					 }
					 Booster.temperature=f2u8_booster.fVal;

					 for(uint8_t i=0;i<4;i++)
					 {
						 f2u8_booster.array[i]=Lora_Rx_Buffer[i+26];
					 }
					 Booster.accx=f2u8_booster.fVal;

					 for(uint8_t i=0;i<4;i++)
					 {
						 f2u8_booster.array[i]=Lora_Rx_Buffer[i+30];
					 }
					 Booster.accy=f2u8_booster.fVal;

				      for(uint8_t i=0;i<4;i++)
					 {
				    	  f2u8_booster.array[i]=Lora_Rx_Buffer[i+34];
					 }
				      Booster.accz=f2u8_booster.fVal;

					  for(uint8_t i=0;i<4;i++)
					 {
						  f2u8_booster.array[i]=Lora_Rx_Buffer[i+38];
					 }
					  Booster.normal=f2u8_booster.fVal;

					  for(uint8_t i=0;i<4;i++)
					 {
						  f2u8_booster.array[i]=Lora_Rx_Buffer[i+42];
					 }
					  Booster.pitch=f2u8_booster.fVal;
}

void Sustainer_union_converter(void)
{
	 float2unit8 f2u8_gpsalt;
					 for(uint8_t i=0;i<4;i++)
					 {
						 f2u8_gpsalt.array[i]=Lora_Rx_Buffer[i+2];
					//	 HYI_BUFFER[10+i] =Lora_Rx_Buffer[i+5]; // 10 11 12 13
					 }
					 Sustainer.gpsaltitude=f2u8_gpsalt.fVal;
				 float2unit8 f2u8_latitude;

					 for(uint8_t i=0;i<4;i++)
					 {
						f2u8_latitude.array[i]=Lora_Rx_Buffer[i+6];
					//	HYI_BUFFER[14+i] =Lora_Rx_Buffer[i+9]; // 14 15 16 17
					 }
					 Sustainer.gpslatitude=f2u8_latitude.fVal;

				 float2unit8 f2u8_longitude;
					 for(uint8_t i=0;i<4;i++)
					 {
						f2u8_longitude.array[i]=Lora_Rx_Buffer[i+10];
					//	HYI_BUFFER[18+i] =Lora_Rx_Buffer[i+13]; // 18 19 20 21
					 }
					 Sustainer.gpslongitude=f2u8_longitude.fVal;

				 float2unit8 f2u8_altitude;
					 for(uint8_t i=0;i<4;i++)
					 {
						f2u8_altitude.array[i]=Lora_Rx_Buffer[i+14];
					//	HYI_BUFFER[6+i] =Lora_Rx_Buffer[i+17]; // 6 7 8 9
					 }
					 Sustainer.altitude=f2u8_altitude.fVal;

				 float2unit8 f2u8_speed;

					 for(uint8_t i=0;i<4;i++)
					 {
						 f2u8_speed.array[i]=Lora_Rx_Buffer[i+18];
					 }
					 Sustainer.speed=f2u8_speed.fVal;

				 float2unit8 f2u8_temp;
					 for(uint8_t i=0;i<4;i++)
					 {
						 f2u8_temp.array[i]=Lora_Rx_Buffer[i+22];
					 }
					 Sustainer.temperature=f2u8_temp.fVal;

				 float2unit8 f2u8_accx;
					 for(uint8_t i=0;i<4;i++)
					 {
						 f2u8_accx.array[i]=Lora_Rx_Buffer[i+26];
					//	 HYI_BUFFER[58+i]=Lora_Rx_Buffer[i+29]; //
					 }
					 Sustainer.accx=f2u8_accx.fVal;

				float2unit8 f2u8_accy;
					 for(uint8_t i=0;i<4;i++)
					 {
						 f2u8_accy.array[i]=Lora_Rx_Buffer[i+30];
					//	 HYI_BUFFER[62+i]=Lora_Rx_Buffer[i+33];
					 }
					 Sustainer.accy=f2u8_accy.fVal;

				float2unit8 f2u8_accz;
				      for(uint8_t i=0;i<4;i++)
					 {
				    	  f2u8_accz.array[i]=Lora_Rx_Buffer[i+34];
				    //	  HYI_BUFFER[66+i]=Lora_Rx_Buffer[i+37];
					 }
				      Sustainer.accz=f2u8_accz.fVal;

				float2unit8 f2u8_roll;
					  for(uint8_t i=0;i<4;i++)
					 {
						  f2u8_roll.array[i]=Lora_Rx_Buffer[i+38];
					 }
					  Sustainer.normal=f2u8_roll.fVal;

				float2unit8 f2u8_pitch;
					  for(uint8_t i=0;i<4;i++)
					 {
						  f2u8_pitch.array[i]=Lora_Rx_Buffer[i+42];
					 }
					  Sustainer.pitch=f2u8_pitch.fVal;

}
void Payload_union_converter(void)
{
	 float2unit8 f2u8;
			 for(uint8_t i=0;i<4;i++)
			 {
				 f2u8.array[i]=Lora_Rx_Buffer[i+2];
				// HYI_BUFFER[22+i]=Lora_Rx_Buffer[i+5]; // 34 35 36 37
			 }
			 Payload.gpsaltitude=f2u8.fVal;

			 for(uint8_t i=0;i<4;i++)
			 {
				 f2u8.array[i]=Lora_Rx_Buffer[i+6];
			//	 HYI_BUFFER[26+i]=Lora_Rx_Buffer[i+9]; // 38 39 40 41
			 }
			 Payload.gpslatitude=f2u8.fVal;

			 for(uint8_t i=0;i<4;i++)
			 {
				 f2u8.array[i]=Lora_Rx_Buffer[i+10];
			//	 HYI_BUFFER[30+i]=Lora_Rx_Buffer[i+13]; // 42 43 44 45
			 }
			 Payload.gpslongitude=f2u8.fVal;

			 for(uint8_t i=0;i<4;i++)
			 {
				 f2u8.array[i]=Lora_Rx_Buffer[i+14];
			 }
			 Payload.altitude=f2u8.fVal;

			 for(uint8_t i=0;i<4;i++)
			 {
				 f2u8.array[i]=Lora_Rx_Buffer[i+18];
			 }
			 Payload.speed=f2u8.fVal;

			 for(uint8_t i=0;i<4;i++)
			 {
				 f2u8.array[i]=Lora_Rx_Buffer[i+22];
			 }
			 Payload.temperature=f2u8.fVal;

			 for(uint8_t i=0;i<4;i++)
			 {
				 f2u8.array[i]=Lora_Rx_Buffer[i+26];
			 }
			 Payload.accx=f2u8.fVal;

			 for(uint8_t i=0;i<4;i++)
			 {
				 f2u8.array[i]=Lora_Rx_Buffer[i+30];
			 }
			 Payload.accy=f2u8.fVal;

		      for(uint8_t i=0;i<4;i++)
			 {
		    	  f2u8.array[i]=Lora_Rx_Buffer[i+34];
			 }
		      Payload.accz=f2u8.fVal;

			  for(uint8_t i=0;i<4;i++)
			 {
				  f2u8.array[i]=Lora_Rx_Buffer[i+38];
			 }
			  Payload.normal=f2u8.fVal;

			  for(uint8_t i=0;i<4;i++)
			 {
				  f2u8.array[i]=Lora_Rx_Buffer[i+42];
			 }
			  Payload.pitch=f2u8.fVal;
}

double distance_in_m(double lat1, double long1, double lat2, double long2) {

    double dlat1=lat1*(PI/180);

    double dlong1=long1*(PI/180);
    double dlat2=lat2*(PI/180);
    double dlong2=long2*(PI/180);

    double dLong=dlong1-dlong2;
    double dLat=dlat1-dlat2;

    double aHarv= pow(sin(dLat/2.0),2.0)+cos(dlat1)*cos(dlat2)*pow(sin(dLong/2),2);
    double cHarv=2*atan2(sqrt(aHarv),sqrt(1.0-aHarv));

    double distance=radius_of_earth*cHarv;
    return (distance);
    }
double toRadians(double degree) {
    return (degree * PI / 180.0);
}

double calculateAngle(double lat1, double lon1, double lat2, double lon2){
    double lat1_rad = toRadians(lat1);
    double lat2_rad = toRadians(lat2);
    double delta_lon = toRadians(lon2 - lon1);
    double y = sin(delta_lon) * cos(lat2_rad);
    double x = cos(lat1_rad) * sin(lat2_rad) - sin(lat1_rad) * cos(lat2_rad) * cos(delta_lon);
    double angle_rad = atan2(y, x);
    double angle_deg = angle_rad * 180.0 / PI;
    return angle_deg;
}

/* USER CODE END 4 */

void Error_Handler(void)
{
  __disable_irq();
  while (1)
  {
  }
}
